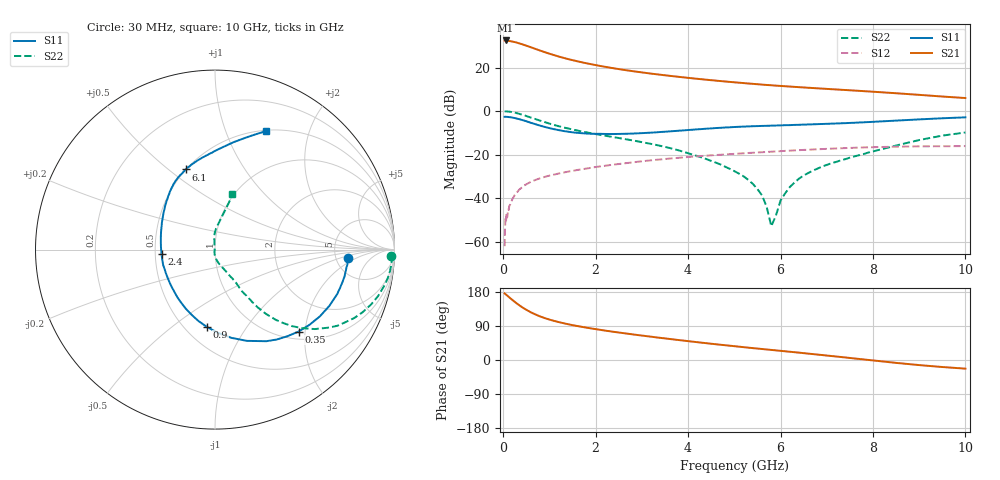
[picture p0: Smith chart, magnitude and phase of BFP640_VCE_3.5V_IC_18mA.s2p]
! Infineon Technologies  Discrete & RF Semiconductors
! BFP640
! VCE =  3.5 V,  IC =  18 mA
! Common Emitter S-Parameters:  Apr 2013
# GHz  S  MA  R  50
!  f  S11  S21  S12  S22
! GHz  MAG  ANG  MAG  ANG  MAG  ANG  MAG  ANG
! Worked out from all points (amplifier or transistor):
!   99 points, 30 MHz to 10 GHz, reference 50 ohm
!   highest |S21| = 32.4 dB at 50 MHz (marker M1)
!   |S21| within 3 dB of that: start of sweep to 582.3 MHz
!   unconditionally stable (mu >= 1): 2.878 GHz to end of sweep
!   at 350 MHz: K = 0.25, MSG = 33.5 dB, |S12| = -35.9 dB
!   at 3.5 GHz: K = 1.03, MAG = 18.1 dB, |S12| = -21.9 dB
!   at 10 GHz: K = 1.08, MAG = 9.3 dB, |S12| = -16.0 dB
!   S11 on the Smith chart (normalised r, x): 30 MHz: 6.40, -1.39; 350 MHz: 1.16, -1.85; 900 MHz: 0.64, -0.68; 2.4 GHz: 0.54, -0.03; 6.1 GHz: 0.50, +0.57; 10 GHz: 0.51, +1.40
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0.03  0.7404 -3.8  41.67 175.7  0.0008 80.3  0.9838 -2.0
0.05  0.7423 -6.5  41.72 173.9  0.0034 75.9  0.987 -3.7
0.12  0.7298 -15.9  40.86 166.4  0.0054 85.4  0.9751 -9.6
0.2  0.7102 -26.2  39.31 158.3  0.0097 80.5  0.9451 -15.9
0.3  0.6727 -38.6  37.07 148.7  0.0138 73.5  0.8941 -22.9
0.35  0.6523 -44.4  35.69 144.3  0.016 71.4  0.8651 -26.1
0.45  0.6082 -55.4  32.99 136.2  0.0196 67.7  0.804 -31.8
0.6  0.5388 -70.7  29.09 125.7  0.024 62.8  0.7112 -38.5
0.7  0.5001 -79.5  26.61 120.0  0.0265 60.9  0.6557 -41.9
0.9  0.4334 -95.9  22.49 110.5  0.0311 58.0  0.5585 -47.1
1.2  0.367 -116.4  17.87 100.1  0.0371 55.1  0.4509 -51.8
1.4  0.3379 -128.5  15.66 94.5  0.0409 53.8  0.4008 -53.5
1.7  0.3117 -144.7  13.18 87.5  0.0465 52.1  0.3422 -54.9
2.4  0.2988 -175.3  9.565 74.2  0.0595 48.3  0.2519 -57.4
3.4  0.3318 153.1  6.827 58.4  0.0779 41.6  0.1599 -61.3
5.1  0.4366 121.0  4.484 35.2  0.1063 28.3  0.0369 -89.7
5.6  0.4576 115.2  4.057 29.0  0.1141 24.4  0.0117 -102.8
5.8  0.4642 112.9  3.912 26.6  0.1173 22.9  0.0023 -147.4
6.1  0.4758 110.2  3.717 23.0  0.1225 20.5  0.013 99.3
6.7  0.4983 103.3  3.384 15.6  0.1319 15.2  0.0432 94.6
8.5  0.606 80.4  2.571 -7.6  0.1531 -2.1  0.1626 80.5
10  0.7197 66.6  1.996 -22.8  0.1576 -13.8  0.3231 72.8
